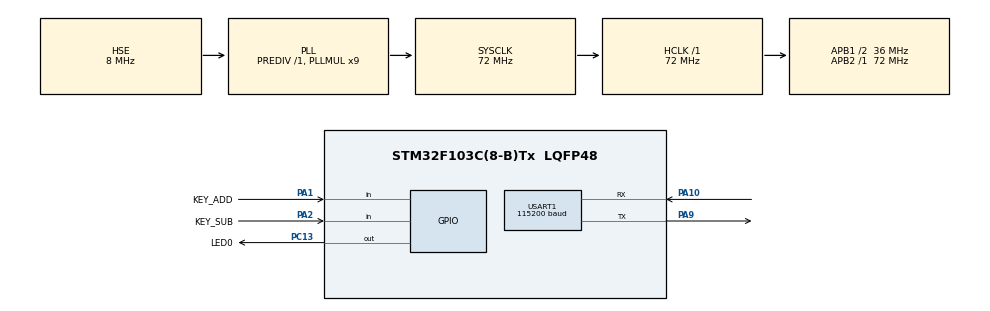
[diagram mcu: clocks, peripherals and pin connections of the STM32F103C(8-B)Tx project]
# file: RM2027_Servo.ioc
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Mcu.Family=STM32F1
Mcu.Name=STM32F103C(8-B)Tx
Mcu.Package=LQFP48
NVIC.PriorityGroup=NVIC_PRIORITYGROUP_4
NVIC.USART1_IRQn=true\:0\:0\:false\:false\:true\:true\:true\:true
PA0-WKUP.Signal=S_TIM2_CH1_ETR
PA1.GPIO_Label=KEY_ADD
PA1.GPIO_PuPd=GPIO_PULLUP
PA1.Signal=GPIO_Input
PA10.Mode=Asynchronous
PA10.Signal=USART1_RX
PA13.Mode=Serial_Wire
PA13.Signal=SYS_JTMS-SWDIO
PA14.Mode=Serial_Wire
PA14.Signal=SYS_JTCK-SWCLK
PA2.GPIO_Label=KEY_SUB
PA2.GPIO_PuPd=GPIO_PULLUP
PA2.Signal=GPIO_Input
PA9.Mode=Asynchronous
PA9.Signal=USART1_TX
PC13-TAMPER-RTC.GPIO_Label=LED0
PC13-TAMPER-RTC.Signal=GPIO_Output
PD0-OSC_IN.Mode=HSE-External-Oscillator
PD0-OSC_IN.Signal=RCC_OSC_IN
PD1-OSC_OUT.Mode=HSE-External-Oscillator
PD1-OSC_OUT.Signal=RCC_OSC_OUT
ProjectManager.HeapSize=0x200
ProjectManager.StackSize=0x400
ProjectManager.TargetToolchain=CMake
RCC.AHBFreq_Value=72000000
RCC.APB1CLKDivider=RCC_HCLK_DIV2
RCC.APB1Freq_Value=36000000
RCC.APB1TimFreq_Value=72000000
RCC.APB2Freq_Value=72000000
RCC.APB2TimFreq_Value=72000000
RCC.HCLKFreq_Value=72000000
RCC.PLLMUL=RCC_PLL_MUL9
RCC.PLLSourceVirtual=RCC_PLLSOURCE_HSE
RCC.SYSCLKFreq_VALUE=72000000
RCC.SYSCLKSource=RCC_SYSCLKSOURCE_PLLCLK
RCC.USBFreq_Value=72000000
TIM2.Channel-PWM\ Generation1\ CH1=TIM_CHANNEL_1
TIM2.Period=19999
TIM2.Prescaler=71
USART1.BaudRate=115200
USART1.VirtualMode=VM_ASYNC
board=custom

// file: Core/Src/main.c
/* USER CODE BEGIN Header */

/* USER CODE END Header */

#include "main.h"
#include "tim.h"
#include "gpio.h"
#include "usart.h"
#include "Servo.h"
#include "OLED.h"

#include <stdio.h>

/* USER CODE BEGIN PD */
#define SEQ_POINT_NUM        5U
#define SEQ_HOLD_MS          1000U
#define KEY_SAMPLE_MS        5U     /* 按键采样周期 */
#define KEY_DEBOUNCE_MS      20U    /* 电平变化后需保持 20ms 才确认 */
#define KEY_STEP_DEG         15.0f
#define KEY_RESUME_MS        5000U
#define HEARTBEAT_MS         500U
#define DISPLAY_REFRESH_MS   250U   /* 周期整屏自愈刷新，防止干扰残留 */
#define UART_TIMEOUT_MS      100U
/* USER CODE END PD */

/* USER CODE BEGIN PV */
static const float s_seq[SEQ_POINT_NUM] = {0.0f, 45.0f, 90.0f, 135.0f, 180.0f};

static uint8_t  s_seqIndex    = 0U;
static uint32_t s_seqTick     = 0U;
static uint8_t  s_seqPaused   = 0U;
static uint32_t s_lastKeyTick = 0U;

static uint32_t s_displayTick  = 0U;
static uint8_t  s_displayDirty = 0U;
static uint32_t s_heartTick    = 0U;

static uint8_t  s_keyStable[2]    = {1U, 1U};
static uint8_t  s_keyCandidate[2] = {1U, 1U};
static uint32_t s_keyCandTick[2]  = {0U, 0U};
static uint32_t s_keyTick         = 0U;
static int      s_lastPrintDeg    = -999;
/* USER CODE END PV */

/* USER CODE BEGIN PFP */
void SystemClock_Config(void);
static void Display_Update(float angle);
static void Uart_SendBanner(void);
static uint8_t Key_Scan(float *delta);
static void Heartbeat_Task(void);
/* USER CODE END PFP */

/* USER CODE BEGIN 0 */

int _write(int fd, char *ptr, int len)
{
  (void)fd;
  HAL_UART_Transmit(&huart1, (uint8_t *)ptr, (uint16_t)len, UART_TIMEOUT_MS);
  return len;
}

/* 上电自检：不经 stdio 缓冲，直接用 HAL 发一串固定字符。
   串口助手里看得到这一行 → 链路（接线/波特率/共地）没问题，问题在 printf 重定向；
   看不到 → 问题在硬件链路，与代码无关。 */
static void Uart_SendBanner(void)
{
  const char msg[] = "\r\n[BOOT] RM-2027 Servo, USART1 115200 8N1\r\n";
  HAL_UART_Transmit(&huart1, (uint8_t *)msg, (uint16_t)(sizeof(msg) - 1U), UART_TIMEOUT_MS);
}

static void Display_Update(float angle)
{
  char     line[17];
  uint16_t ccr = Servo_GetCCR();
  int      deg = (int)(angle + 0.5f);

  OLED_BufClear();

  snprintf(line, sizeof(line), "Target:%03ddeg", deg);
  OLED_BufString(1, 1, line);

  snprintf(line, sizeof(line), "CCR   :%4u", (unsigned)ccr);
  OLED_BufString(2, 1, line);

  snprintf(line, sizeof(line), "Pulse :%u.%03ums", (unsigned)(ccr / 1000U), (unsigned)(ccr % 1000U));
  OLED_BufString(3, 1, line);

  OLED_Flush();

  if (deg != s_lastPrintDeg)
  {
    s_lastPrintDeg = deg;
    printf("Target=%03d  CCR=%4u  Pulse=%u.%03ums\r\n",
           deg, (unsigned)ccr, (unsigned)(ccr / 1000U), (unsigned)(ccr % 1000U));
  }
}

static uint8_t Key_Scan(float *delta)
{
  uint32_t now = HAL_GetTick();
  uint8_t  raw[2];
  uint8_t  pressed = 0U;
  uint8_t  i;

  if ((now - s_keyTick) < KEY_SAMPLE_MS)
  {
    return 0U;
  }
  s_keyTick = now;

  raw[0] = (HAL_GPIO_ReadPin(KEY_ADD_GPIO_Port, KEY_ADD_Pin) == GPIO_PIN_RESET) ? 0U : 1U;
  raw[1] = (HAL_GPIO_ReadPin(KEY_SUB_GPIO_Port, KEY_SUB_Pin) == GPIO_PIN_RESET) ? 0U : 1U;

  for (i = 0U; i < 2U; i++)
  {
    if (raw[i] != s_keyCandidate[i])
    {
      s_keyCandidate[i] = raw[i];
      s_keyCandTick[i]  = now;
    }
    else if ((s_keyCandidate[i] != s_keyStable[i]) &&
             ((now - s_keyCandTick[i]) >= KEY_DEBOUNCE_MS))
    {
      s_keyStable[i] = s_keyCandidate[i];

      if (s_keyStable[i] == 0U)
      {
        *delta += (i == 0U) ? KEY_STEP_DEG : -KEY_STEP_DEG;
        pressed = 1U;
      }
    }
  }

  return pressed;
}

static void Heartbeat_Task(void)
{
  uint32_t now = HAL_GetTick();

  if ((now - s_heartTick) >= HEARTBEAT_MS)
  {
    s_heartTick = now;
    HAL_GPIO_TogglePin(LED0_GPIO_Port, LED0_Pin);
  }
}

/* USER CODE END 0 */

int main(void)
{

  HAL_Init();

  SystemClock_Config();

  MX_GPIO_Init();
  MX_TIM2_Init();
  MX_USART1_UART_Init();

  /* USER CODE BEGIN 2 */
  setvbuf(stdout, NULL, _IONBF, 0);   /* printf 不缓冲，立即经 _write 发出 */
  Uart_SendBanner();

  OLED_Init();
  OLED_Clear();

  Servo_Init(&htim2, TIM_CHANNEL_1);
  Servo_SetAngle(s_seq[0]);

  s_seqTick     = HAL_GetTick();
  s_displayTick = s_seqTick;
  s_heartTick   = s_seqTick;

  Display_Update(Servo_GetAngle());

  printf("\r\nRM-2027 servo ready: TIM2_CH1 on PA0, 50Hz, 1us/count\r\n");
  /* USER CODE END 2 */

  /* Infinite loop */
  while (1)
  {

    /* USER CODE BEGIN 3 */
    uint32_t now   = HAL_GetTick();
    float    delta = 0.0f;

    if (Key_Scan(&delta) != 0U)
    {
      s_seqPaused    = 1U;
      s_lastKeyTick  = now;
      s_displayDirty = 1U;

      Servo_SetAngle(Servo_GetAngle() + delta);
    }

    if ((s_seqPaused != 0U) && ((now - s_lastKeyTick) >= KEY_RESUME_MS))
    {
      s_seqPaused = 0U;
      s_seqTick   = now;
    }

    if ((s_seqPaused == 0U) && ((now - s_seqTick) >= SEQ_HOLD_MS))
    {
      s_seqTick  = now;
      s_seqIndex = (uint8_t)((s_seqIndex + 1U) % SEQ_POINT_NUM);

      Servo_SetAngle(s_seq[s_seqIndex]);
      s_displayDirty = 1U;
    }

    if ((s_displayDirty != 0U) || ((now - s_displayTick) >= DISPLAY_REFRESH_MS))
    {
      s_displayDirty = 0U;
      s_displayTick  = now;
      Display_Update(Servo_GetAngle());
    }

    Heartbeat_Task();
  }
  /* USER CODE END 3 */
}

void SystemClock_Config(void)
{
  RCC_OscInitTypeDef RCC_OscInitStruct = {0};
  RCC_ClkInitTypeDef RCC_ClkInitStruct = {0};

  RCC_OscInitStruct.OscillatorType = RCC_OSCILLATORTYPE_HSE;
  RCC_OscInitStruct.HSEState = RCC_HSE_ON;
  RCC_OscInitStruct.HSEPredivValue = RCC_HSE_PREDIV_DIV1;
  RCC_OscInitStruct.HSIState = RCC_HSI_ON;
  RCC_OscInitStruct.PLL.PLLState = RCC_PLL_ON;
  RCC_OscInitStruct.PLL.PLLSource = RCC_PLLSOURCE_HSE;
  RCC_OscInitStruct.PLL.PLLMUL = RCC_PLL_MUL9;
  if (HAL_RCC_OscConfig(&RCC_OscInitStruct) != HAL_OK)
  {
    Error_Handler();
  }

  RCC_ClkInitStruct.ClockType = RCC_CLOCKTYPE_HCLK|RCC_CLOCKTYPE_SYSCLK
                              |RCC_CLOCKTYPE_PCLK1|RCC_CLOCKTYPE_PCLK2;
  RCC_ClkInitStruct.SYSCLKSource = RCC_SYSCLKSOURCE_PLLCLK;
  RCC_ClkInitStruct.AHBCLKDivider = RCC_SYSCLK_DIV1;
  RCC_ClkInitStruct.APB1CLKDivider = RCC_HCLK_DIV2;
  RCC_ClkInitStruct.APB2CLKDivider = RCC_HCLK_DIV1;

  if (HAL_RCC_ClockConfig(&RCC_ClkInitStruct, FLASH_LATENCY_2) != HAL_OK)
  {
    Error_Handler();
  }
}

void Error_Handler(void)
{
  __disable_irq();
  while (1)
  {
  }
}

#ifdef  USE_FULL_ASSERT
/**
  * @brief  Reports the name of the source file and the source line number
  *         where the assert_param error has occurred.
  * @param  file: pointer to the source file name
  * @param  line: assert_param error line source number
  * @retval None
  */
void assert_failed(uint8_t *file, uint32_t line)
{
  /* USER CODE BEGIN 6 */
  (void)file;
  (void)line;
  /* USER CODE END 6 */
}
#endif
